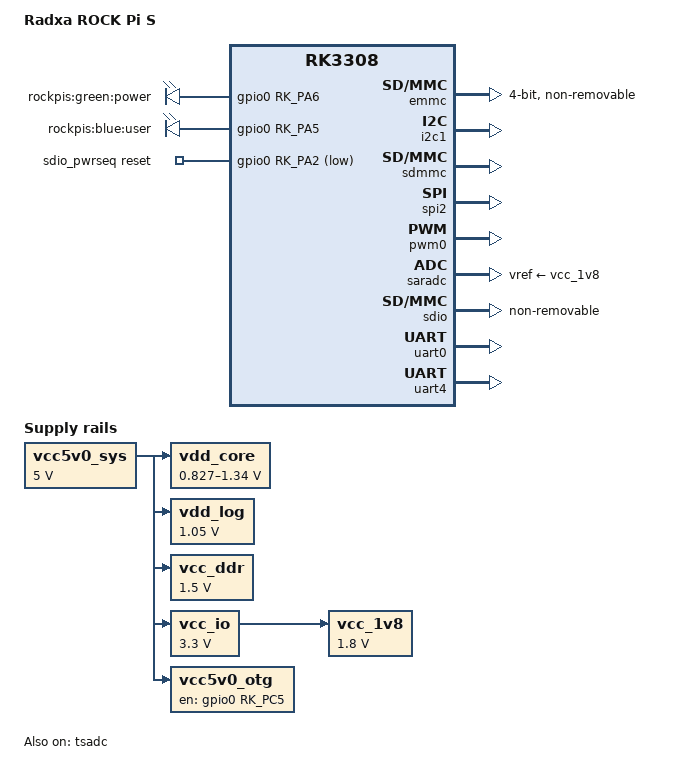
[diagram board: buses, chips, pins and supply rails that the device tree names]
// SPDX-License-Identifier: (GPL-2.0+ OR MIT)
/*
 * Copyright (c) 2019 Akash Gajjar <akash@openedev.com>
 * Copyright (c) 2019 Jagan Teki <jagan@openedev.com>
 */

/dts-v1/;
#include "rk3308.dtsi"

/ {
	model = "Radxa ROCK Pi S";
	compatible = "radxa,rockpis", "rockchip,rk3308";

	chosen {
		stdout-path = "serial0:1500000n8";
	};

	leds {
		compatible = "gpio-leds";
		pinctrl-names = "default";
		pinctrl-0 = <&green_led_gio>, <&heartbeat_led_gpio>;

		green-led {
			label = "rockpis:green:power";
			gpios = <&gpio0 RK_PA6 GPIO_ACTIVE_HIGH>;
			linux,default-trigger = "default-on";
			default-state = "on";
		};

		blue-led {
			label = "rockpis:blue:user";
			gpios = <&gpio0 RK_PA5 GPIO_ACTIVE_HIGH>;
			default-state = "on";
			linux,default-trigger = "heartbeat";
		};
	};

	sound {
		compatible = "simple-audio-card";
		simple-audio-card,format = "i2s";
		simple-audio-card,mclk-fs = <256>;
		simple-audio-card,name = "i2s_8ch_0";

		simple-audio-card,dai-link@1 {
			format = "i2s";
			cpu {
				sound-dai = <&i2s_8ch_0>;
			};

			codec {
				sound-dai = <&pcm5102a>;
			};
		};
	};

	pcm5102a: pcm5102a {
			#sound-dai-cells = <0>;
			compatible = "ti,pcm5102a";
			pcm510x,format = "i2s";
	};

	sdio_pwrseq: sdio-pwrseq {
		compatible = "mmc-pwrseq-simple";
		pinctrl-names = "default";
		pinctrl-0 = <&wifi_enable_h>;
		reset-gpios = <&gpio0 RK_PA2 GPIO_ACTIVE_LOW>;
	};

	vcc5v0_sys: vcc5v0-sys {
		compatible = "regulator-fixed";
		regulator-name = "vcc5v0_sys";
		regulator-always-on;
		regulator-boot-on;
		regulator-min-microvolt = <5000000>;
		regulator-max-microvolt = <5000000>;
	};

	vdd_core: vdd-core {
		compatible = "pwm-regulator";
		pwms = <&pwm0 0 5000 1>;
		regulator-name = "vdd_core";
		regulator-min-microvolt = <827000>;
		regulator-max-microvolt = <1340000>;
		regulator-init-microvolt = <1015000>;
		regulator-settling-time-up-us = <250>;
		regulator-always-on;
		regulator-boot-on;
		pwm-supply = <&vcc5v0_sys>;
	};

	vdd_log: vdd-log {
		compatible = "regulator-fixed";
		regulator-name = "vdd_log";
		regulator-always-on;
		regulator-boot-on;
		regulator-min-microvolt = <1050000>;
		regulator-max-microvolt = <1050000>;
		vin-supply = <&vcc5v0_sys>;
	};

	vcc_ddr: vcc-ddr {
		compatible = "regulator-fixed";
		regulator-name = "vcc_ddr";
		regulator-always-on;
		regulator-boot-on;
		regulator-min-microvolt = <1500000>;
		regulator-max-microvolt = <1500000>;
		vin-supply = <&vcc5v0_sys>;
	};

	vcc_1v8: vcc-1v8 {
		compatible = "regulator-fixed";
		regulator-name = "vcc_1v8";
		regulator-always-on;
		regulator-boot-on;
		regulator-min-microvolt = <1800000>;
		regulator-max-microvolt = <1800000>;
		vin-supply = <&vcc_io>;
	};

	vcc_io: vcc-io {
		compatible = "regulator-fixed";
		regulator-name = "vcc_io";
		regulator-always-on;
		regulator-boot-on;
		regulator-min-microvolt = <3300000>;
		regulator-max-microvolt = <3300000>;
		vin-supply = <&vcc5v0_sys>;
	};

	vcc5v0_otg: vcc5v0-otg {
		compatible = "regulator-fixed";
		regulator-name = "vcc5v0_otg";
		regulator-always-on;
		gpio = <&gpio0 RK_PC5 GPIO_ACTIVE_HIGH>;
		enable-active-high;
		pinctrl-names = "default";
		pinctrl-0 = <&otg_vbus_drv>;
		vin-supply = <&vcc5v0_sys>;
	};
};

&cpu0 {
	cpu-supply = <&vdd_core>;
};

&emmc {
	bus-width = <4>;  // Confirm if right value - <8>
	cap-mmc-highspeed;
	mmc-hs200-1_8v;
	/* supports-sd; */
	/* disable-wp; */
	non-removable;
	/* num-slots = <1>; */
	/* please provide actual vmmc and vqmmc supplies
	vin is not a valid supply for emmcs */
	vin-supply = <&vcc_io>;
	status = "okay";
};

&i2c1 {
	status = "okay";
};

&sdmmc {
	/* bus-width = <4>; */
	cap-mmc-highspeed;
	cap-sd-highspeed;
	/* max-frequency = <150000000>; */
	/* supports-sd; */
	disable-wp;
	/* num-slots = <1>; */
	pinctrl-0 = <&sdmmc_clk &sdmmc_cmd &sdmmc_det &sdmmc_bus4>;
	card-detect-delay = <800>; // Confirm if right value - <200>
	status = "okay";
};

&i2s_8ch_0 {
	assigned-clocks = <&cru SCLK_I2S0_8CH_RX>;
	assigned-clock-parents = <&cru SCLK_I2S0_8CH_TX_MUX>;
	rockchip,clk-trcm = <1>;
	#sound-dai-cells = <0>;
};

&spi2 {
	status = "okay";
	max-freq = <10000000>;
};

&pinctrl {
	pinctrl-names = "default";
	pinctrl-0 = <&rtc_32k>;

	leds {
		green_led_gio: green-led-gpio {
			rockchip,pins = <0 RK_PA6 RK_FUNC_GPIO &pcfg_pull_none>;
		};

		heartbeat_led_gpio: heartbeat-led-gpio {
			rockchip,pins = <0 RK_PA5 RK_FUNC_GPIO &pcfg_pull_none>;
		};
	};

	usb {
		otg_vbus_drv: otg-vbus-drv {
			rockchip,pins = <0 RK_PC5 RK_FUNC_GPIO &pcfg_pull_none>;
		};
	};

	sdio-pwrseq {
		wifi_enable_h: wifi-enable-h {
			rockchip,pins = <0 RK_PA2 RK_FUNC_GPIO &pcfg_pull_none>;
		};

		wifi_host_wake: wifi-host-wake {
			rockchip,pins = <0 RK_PA0 RK_FUNC_GPIO &pcfg_pull_down>;
		};
	};
};

&pwm0 {
	status = "okay";
	pinctrl-0 = <&pwm0_pin_pull_down>;
};

&saradc {
	vref-supply = <&vcc_1v8>;
	status = "okay";
};

&sdio {
	#address-cells = <1>;
	#size-cells = <0>;
	/* bus-width = <4>;  */
	max-frequency = <1000000>;
	cap-sd-highspeed;
	cap-sdio-irq;
	/* supports-sdio; */
	keep-power-in-suspend;
	mmc-pwrseq = <&sdio_pwrseq>;
	non-removable;
	sd-uhs-sdr104;
	status = "okay";
};

&tsadc {
	rockchip,hw-tshut-mode = <0>;		/* 0:CRU */
	rockchip,hw-tshut-polarity = <1>;	/* 1:HIGH */
	status = "okay";
};

&uart0 {
	status = "okay";
};

&uart4 {
	pinctrl-names = "default";
	pinctrl-0 = <&uart4_xfer &uart4_rts &uart4_cts>;
	status = "okay";
};
